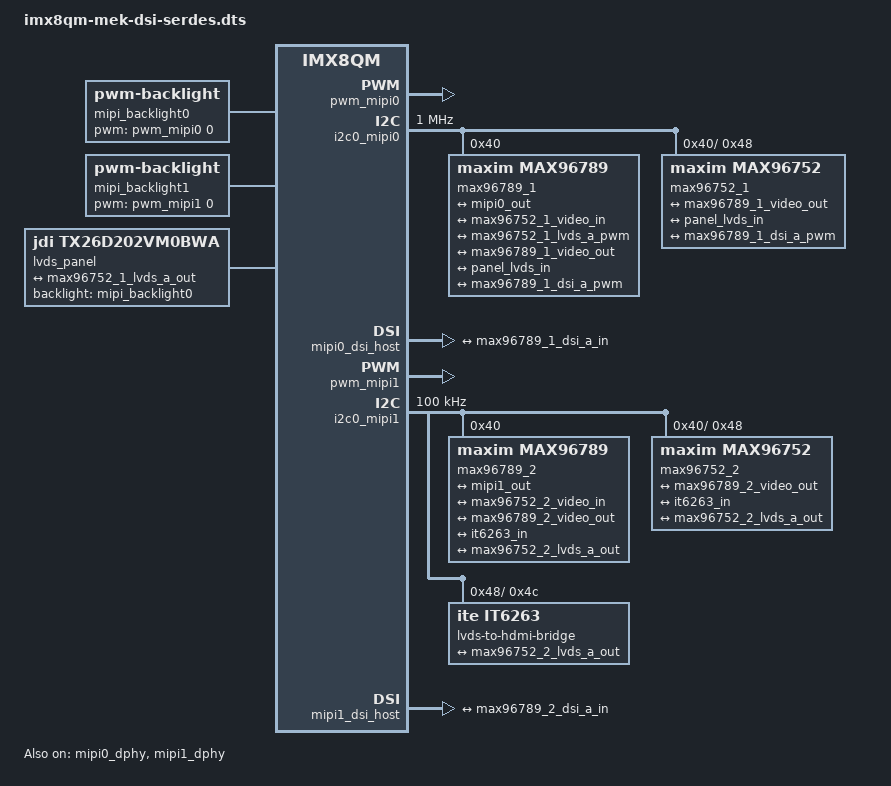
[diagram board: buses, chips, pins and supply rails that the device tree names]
// SPDX-License-Identifier: GPL-2.0+
/*
 * Copyright 2018-2019 NXP
 *	Dong Aisheng <aisheng.dong@nxp.com>
 */

/dts-v1/;

#include "imx8qm-mek.dts"

/delete-node/ &adv_bridge0;
/delete-node/ &adv_bridge1;

/ {
	mipi_backlight0: mipi_backlight-0 {
		compatible = "pwm-backlight";
		pwms = <&pwm_mipi0 0 100000 0>;

		brightness-levels = < 0  1  2  3  4  5  6  7  8  9
				     10 11 12 13 14 15 16 17 18 19
				     20 21 22 23 24 25 26 27 28 29
				     30 31 32 33 34 35 36 37 38 39
				     40 41 42 43 44 45 46 47 48 49
				     50 51 52 53 54 55 56 57 58 59
				     60 61 62 63 64 65 66 67 68 69
				     70 71 72 73 74 75 76 77 78 79
				     80 81 82 83 84 85 86 87 88 89
				     90 91 92 93 94 95 96 97 98 99
				    100>;
		default-brightness-level = <80>;
	};

	mipi_backlight1: mipi_backlight-1 {
		compatible = "pwm-backlight";
		pwms = <&pwm_mipi1 0 10000000 0>;

		brightness-levels = < 0  1  2  3  4  5  6  7  8  9
				     10 11 12 13 14 15 16 17 18 19
				     20 21 22 23 24 25 26 27 28 29
				     30 31 32 33 34 35 36 37 38 39
				     40 41 42 43 44 45 46 47 48 49
				     50 51 52 53 54 55 56 57 58 59
				     60 61 62 63 64 65 66 67 68 69
				     70 71 72 73 74 75 76 77 78 79
				     80 81 82 83 84 85 86 87 88 89
				     90 91 92 93 94 95 96 97 98 99
				    100>;
		default-brightness-level = <80>;
	};

	lvds_panel {
		compatible = "jdi,tx26d202vm0bwa";
		backlight = <&mipi_backlight0>;

		port {
			panel_lvds_in: endpoint {
				remote-endpoint = <&max96752_1_lvds_a_out>;
			};
		};
	};
};

&pwm_mipi0 {
	pinctrl-names = "default";
	pinctrl-0 = <&pinctrl_pwm_mipi0>;
	status = "okay";
};

&i2c0_mipi0 {
	clock-frequency = <1000000>;
	status = "okay";

	max96789_1: mipi_dsi_serializer@40 {
		#address-cells = <1>;
		#size-cells = <0>;

		compatible = "maxim,max96789";
		reg = <0x40>;
		status = "okay";

		maxim,gmsl-links-types = <2 2>;
		maxim,gmsl2-link-speed = <6>;
		maxim,gmsl2-dual-link;

		/* DSI port 0 */
		max96789_dsi_bridge@0 {
			reg = <0>;

			compatible = "maxim,max96789-dsi";

			port {
				#address-cells = <1>;
				#size-cells = <0>;

				max96789_1_dsi_a_in: endpoint@0 {
					reg = <0>;

					remote-endpoint = <&mipi0_out>;
					data-lanes = <1 2 3 4>;
				};

				max96789_1_video_out: endpoint@1 {
					reg = <1>;

					remote-endpoint = <&max96752_1_video_in>;
				};
			};
		};

		gpio-config {
			#address-cells = <1>;
			#size-cells = <0>;

			port@b {
				reg = <11>;

				/* input, pull-down, 1Mohm */
				maxim,pin_config = <1 2 1>;

				max96789_1_dsi_a_pwm: endpoint {
					remote-endpoint = <&max96752_1_lvds_a_pwm>;
				};
			};
		};

		i2c-mux {
			#address-cells = <1>;
			#size-cells = <0>;

			/* gmsl a */
			i2c@0 {
				#address-cells = <1>;
				#size-cells = <0>;

				reg = <0>;

				max96752_1: mipi_dsi_deserializer@48 {
					compatible = "maxim,max96752";
					reg = <0x48>;
					status = "okay";

					maxim,gmsl2-link-speed = <6>;
					maxim,gmsl2-dual-link;

					max96752_lvds_bridge {
						compatible = "maxim,max96752-lvds";
						maxim,dual-channel;

						port {
							#address-cells = <1>;
							#size-cells = <0>;

							max96752_1_video_in: endpoint@0 {
								reg = <0>;

								remote-endpoint = <&max96789_1_video_out>;
							};

							max96752_1_lvds_a_out: endpoint@1 {
								reg = <1>;

								remote-endpoint = <&panel_lvds_in>;
							};
						};
					};

					gpio-config {
						#address-cells = <1>;
						#size-cells = <0>;

						port@d {
							reg = <13>;

							/* output, no pull up/down */
							maxim,pin_config = <0 0 0>;

							max96752_1_lvds_a_pwm: endpoint {
								remote-endpoint = <&max96789_1_dsi_a_pwm>;
							};
						};
					};

					i2c-gate {
						status = "disabled";
					};
				};
			};
		};
	};
};

&mipi0_dphy {
	status = "okay";
};

&mipi0_dsi_host {
	status = "okay";

	ports {
		port@1 {
			reg = <1>;
			mipi0_out: endpoint {
				remote-endpoint = <&max96789_1_dsi_a_in>;
			};
		};
	};
};

&pwm_mipi1 {
	pinctrl-names = "default";
	pinctrl-0 = <&pinctrl_pwm_mipi1>;
	status = "okay";
};

&i2c0_mipi1 {
	clock-frequency = <100000>;
	status = "okay";

	max96789_2: mipi_dsi_serializer@40 {
		#address-cells = <1>;
		#size-cells = <0>;

		compatible = "maxim,max96789";
		reg = <0x40>;
		status = "okay";

		maxim,gmsl-links-types = <2 2>;
		maxim,gmsl2-link-speed = <6>;
		maxim,gmsl2-dual-link;

		/* DSI port 0 */
		max96789_dsi_bridge@0 {
			reg = <0>;

			compatible = "maxim,max96789-dsi";

			port {
				#address-cells = <1>;
				#size-cells = <0>;

				max96789_2_dsi_a_in: endpoint@0 {
					reg = <0>;

					remote-endpoint = <&mipi1_out>;
					data-lanes = <1 2 3 4>;
				};

				max96789_2_video_out: endpoint@1 {
					reg = <1>;

					remote-endpoint = <&max96752_2_video_in>;
				};
			};
		};

		i2c-mux {
			#address-cells = <1>;
			#size-cells = <0>;

			/* gmsl a */
			i2c@0 {
				#address-cells = <1>;
				#size-cells = <0>;

				reg = <0>;

				max96752_2: mipi_dsi_deserializer@48 {
					compatible = "maxim,max96752";
					reg = <0x48>;
					status = "okay";

					maxim,gmsl2-link-speed = <6>;
					maxim,gmsl2-dual-link;

					max96752_lvds_bridge {
						compatible = "maxim,max96752-lvds";

						port {
							#address-cells = <1>;
							#size-cells = <0>;

							max96752_2_video_in: endpoint@0 {
								reg = <0>;

								remote-endpoint = <&max96789_2_video_out>;
							};

							max96752_2_lvds_a_out: endpoint@1 {
								reg = <1>;

								remote-endpoint = <&it6263_in>;
							};
						};
					};

					i2c-gate {
						#address-cells = <1>;
						#size-cells = <0>;

						lvds-to-hdmi-bridge@4c {
							compatible = "ite,it6263";
							reg = <0x4c>;

							port {
								it6263_in: endpoint {
									remote-endpoint = <&max96752_2_lvds_a_out>;
								};
							};
						};
					};
				};
			};
		};
	};
};

&mipi1_dphy {
	status = "okay";
};

&mipi1_dsi_host {
	status = "okay";

	ports {
		port@1 {
			reg = <1>;
			mipi1_out: endpoint {
				remote-endpoint = <&max96789_2_dsi_a_in>;
			};
		};
	};
};

&iomuxc {
	pinctrl_pwm_mipi0: pwmmipi0grp {
		fsl,pins = <
			IMX8QM_MIPI_DSI0_GPIO0_00_MIPI_DSI0_PWM0_OUT	0x00000060
		>;
	};

	pinctrl_pwm_mipi1: pwmmipi1grp {
		fsl,pins = <
			IMX8QM_MIPI_DSI1_GPIO0_00_MIPI_DSI1_PWM0_OUT	0x00000060
		>;
	};
};
